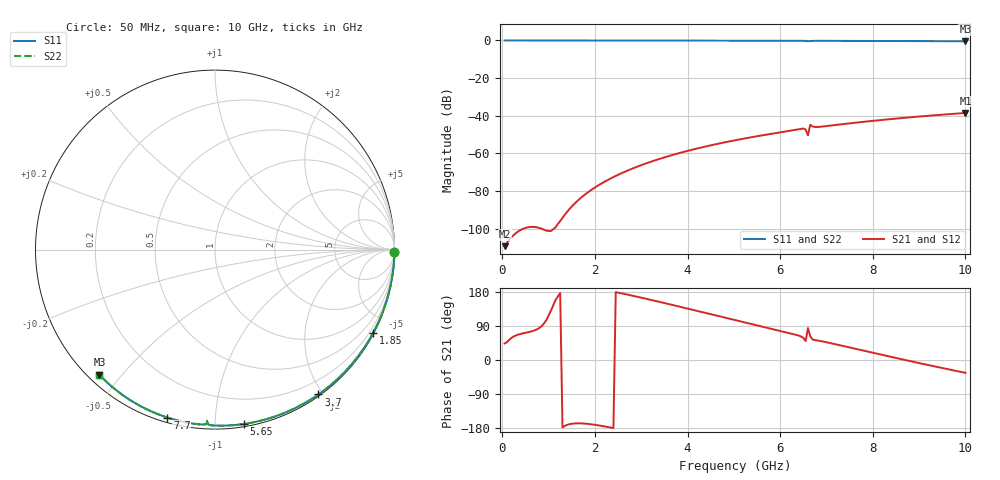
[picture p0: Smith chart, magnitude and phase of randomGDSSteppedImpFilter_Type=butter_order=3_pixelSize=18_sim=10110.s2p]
! freq	dB(S11)	phase(S11)	dB(S12)	phase(S12)
!  dB(S21)	phase(S21)	dB(S22)	phase(S22)
!S-par simulation data
#  GHz  S  DB  R 50
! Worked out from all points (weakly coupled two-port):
!   200 points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, 50 MHz to 10 GHz, reference 50 ohm
!   highest |S21| = -38.50 dB at 10 GHz (marker M1); lowest = -109.2 dB at 50 MHz (marker M2)
!   lowest |S11| = -0.4 dB at 10 GHz (marker M3), VSWR 38.62, Z = 1.54 - j21.9 ohm
!   |S11| at or under -10 dB: nowhere
!   |S22| runs from -0.4 to 0.0 dB; largest |S21 - S12| = 0
!   S11 on the Smith chart (normalised r, x): 50 MHz: open; 1.85 GHz: 0.04, -4.03; 3.7 GHz: 0.02, -1.94; 5.65 GHz: 0.02, -1.18; 7.7 GHz: 0.02, -0.76; 10 GHz: 0.03, -0.44
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0.05  -0.00 -0.8  -109.23 43.6  -109.23 43.6  -0.00 -0.8
0.9  -0.02 -13.7  -100.50 96.5  -100.50 96.5  -0.02 -13.7
1.75  -0.03 -26.4  -82.50 -167.6  -82.50 -167.6  -0.03 -26.4
1.85  -0.04 -27.9  -80.61 -168.7  -80.61 -168.7  -0.04 -27.9
1.9  -0.04 -28.6  -79.73 -169.4  -79.73 -169.4  -0.04 -28.6
2.2  -0.04 -33.0  -75.13 -175.0  -75.13 -175.0  -0.04 -33.0
2.55  -0.05 -38.1  -70.76 176.6  -70.76 176.6  -0.05 -38.1
2.95  -0.06 -43.9  -66.67 165.9  -66.67 165.9  -0.06 -43.9
3.4  -0.07 -50.3  -62.85 153.2  -62.85 153.2  -0.07 -50.3
3.7  -0.07 -54.5  -60.63 144.5  -60.63 144.5  -0.07 -54.5
4.35  -0.09 -63.4  -56.53 125.4  -56.53 125.4  -0.09 -63.4
5.05  -0.11 -72.8  -52.88 104.7  -52.88 104.7  -0.11 -72.8
5.65  -0.13 -80.6  -50.22 87.1  -50.22 87.1  -0.13 -80.6
6.5  -0.20 -91.8  -46.77 58.4  -46.77 58.4  -0.20 -91.8
6.55  -0.26 -92.7  -47.25 49.9  -47.25 49.9  -0.26 -92.7
6.6  -0.41 -92.7  -50.40 84.4  -50.40 84.4  -0.40 -92.7
6.65  -0.29 -92.4  -44.78 62.5  -44.78 62.5  -0.29 -92.4
6.7  -0.22 -93.2  -45.68 54.1  -45.68 54.1  -0.22 -93.2
6.85  -0.20 -95.4  -45.87 50.6  -45.87 50.6  -0.20 -95.4
7.7  -0.24 -105.8  -43.47 27.5  -43.47 27.5  -0.24 -105.8
8.35  -0.29 -113.5  -41.83 9.5  -41.83 9.5  -0.29 -113.5
10  -0.45 -132.7  -38.50 -33.9  -38.50 -33.9  -0.45 -132.7
